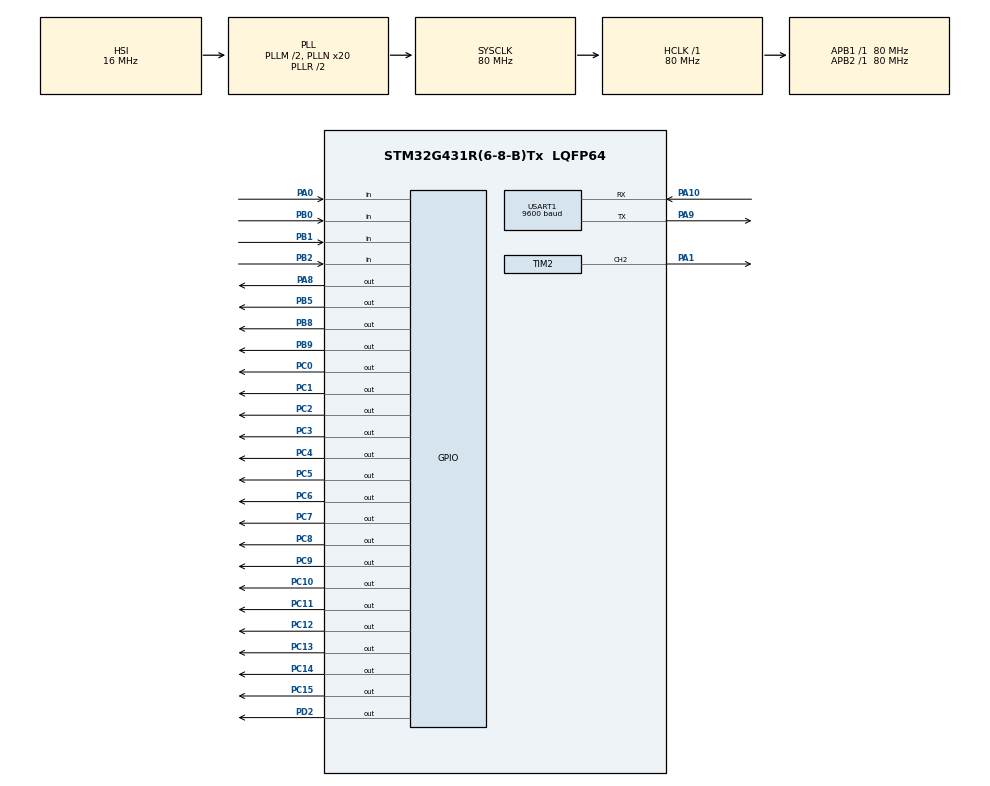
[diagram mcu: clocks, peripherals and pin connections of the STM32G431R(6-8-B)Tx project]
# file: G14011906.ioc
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Mcu.Family=STM32G4
Mcu.Name=STM32G431R(6-8-B)Tx
Mcu.Package=LQFP64
NVIC.PriorityGroup=NVIC_PRIORITYGROUP_4
NVIC.TIM4_IRQn=true\:0\:0\:false\:false\:true\:true\:true
NVIC.USART1_IRQn=true\:0\:0\:false\:false\:true\:true\:true
PA0.Signal=GPIO_Input
PA1.Signal=S_TIM2_CH2
PA10.Mode=Asynchronous
PA10.Signal=USART1_RX
PA8.Signal=GPIO_Output
PA9.Mode=Asynchronous
PA9.Signal=USART1_TX
PB0.Signal=GPIO_Input
PB1.Signal=GPIO_Input
PB2.Signal=GPIO_Input
PB5.Signal=GPIO_Output
PB8-BOOT0.Signal=GPIO_Output
PB9.Signal=GPIO_Output
PC0.Signal=GPIO_Output
PC1.Signal=GPIO_Output
PC10.Signal=GPIO_Output
PC11.Signal=GPIO_Output
PC12.Signal=GPIO_Output
PC13.Signal=GPIO_Output
PC14-OSC32_IN.Signal=GPIO_Output
PC15-OSC32_OUT.Signal=GPIO_Output
PC2.Signal=GPIO_Output
PC3.Signal=GPIO_Output
PC4.Signal=GPIO_Output
PC5.Signal=GPIO_Output
PC6.Signal=GPIO_Output
PC7.Signal=GPIO_Output
PC8.Signal=GPIO_Output
PC9.Signal=GPIO_Output
PD2.Signal=GPIO_Output
PF0-OSC_IN.Mode=HSE-External-Oscillator
PF0-OSC_IN.Signal=RCC_OSC_IN
PF1-OSC_OUT.Mode=HSE-External-Oscillator
PF1-OSC_OUT.Signal=RCC_OSC_OUT
ProjectManager.HeapSize=0x200
ProjectManager.StackSize=0x400
ProjectManager.TargetToolchain=MDK-ARM V5
RCC.ADC12Freq_Value=80000000
RCC.AHBFreq_Value=80000000
RCC.APB1Freq_Value=80000000
RCC.APB1TimFreq_Value=80000000
RCC.APB2Freq_Value=80000000
RCC.APB2TimFreq_Value=80000000
RCC.CortexFreq_Value=80000000
RCC.EXTERNAL_CLOCK_VALUE=12288000
RCC.HCLKFreq_Value=80000000
RCC.HSE_VALUE=24000000
RCC.HSI48_VALUE=48000000
RCC.HSI_VALUE=16000000
RCC.LSE_VALUE=32768
RCC.PLLM=RCC_PLLM_DIV2
RCC.PLLN=20
RCC.SYSCLKFreq_VALUE=80000000
RCC.SYSCLKSource=RCC_SYSCLKSOURCE_PLLCLK
RCC.USBFreq_Value=80000000
RCC.VCOOutputFreq_Value=160000000
SH.S_TIM2_CH2.0=TIM2_CH2,PWM Generation2 CH2
TIM2.Channel-PWM\ Generation2\ CH2=TIM_CHANNEL_2
TIM2.PeriodNoDither=1000-1
TIM2.Prescaler=79
TIM4.PeriodNoDither=9999
TIM4.Prescaler=79
USART1.BaudRate=9600
USART1.VirtualMode-Asynchronous=VM_ASYNC
VP_SYS_VS_DBSignals.Mode=DisableDeadBatterySignals
VP_TIM4_VS_ClockSourceINT.Mode=Internal
board=custom

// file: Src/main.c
/* USER CODE BEGIN Header */
/**
  ******************************************************************************
  * @file           : main.c
  * @brief          : Main program body
  ******************************************************************************
  * @attention
  *
  * <h2><center>&copy; Copyright (c) 2021 STMicroelectronics.
  * All rights reserved.</center></h2>
  *
  * This software component is licensed by ST under BSD 3-Clause license,
  * the "License"; You may not use this file except in compliance with the
  * License. You may obtain a copy of the License at:
  *                        opensource.org/licenses/BSD-3-Clause
  *
  ******************************************************************************
  */
/* USER CODE END Header */

#include "main.h"
#include "tim.h"
#include "usart.h"
#include "gpio.h"

/* USER CODE BEGIN Includes */
#include "led.h"
#include "key.h"
#include "lcd.h"
#include "stdio.h"
#include "string.h"
/* USER CODE END Includes */

void SystemClock_Config(void);

/* USER CODE BEGIN 0 */
extern struct keys key[4];
#define DISPLAY_PSD         0
#define DISPLAY_STA         1
_Bool   display_mode  =  DISPLAY_PSD;
u8      b1_code = '@',b2_code = '@',b3_code = '@';
u16     freq = 2000 ;
u8      duty = 10 ;
u8      init_code1 = 1,init_code2 = 2,init_code3 = 3;
void LCD_Process(void)
{
    char display_buf[20];
    if(display_mode == DISPLAY_PSD)
    {
        LCD_DisplayStringLine(Line1,(unsigned char *)"        PSD        ");
        if(b1_code == '@')
            sprintf(display_buf,"    B1:%c     ",b1_code);
        else
            sprintf(display_buf,"    B1:%d     ",b1_code);
        LCD_DisplayStringLine(Line3,(unsigned char *)display_buf);
        if(b2_code == '@')
            sprintf(display_buf,"    B2:%c     ",b2_code);
        else
            sprintf(display_buf,"    B2:%d     ",b2_code);
        LCD_DisplayStringLine(Line4,(unsigned char *)display_buf);
        if(b3_code == '@')
            sprintf(display_buf,"    B3:%c     ",b3_code);
        else
            sprintf(display_buf,"    B3:%d     ",b3_code);
        LCD_DisplayStringLine(Line5,(unsigned char *)display_buf);
    }
    else
    {
         LCD_DisplayStringLine(Line1,(unsigned char *)"        STA        ");
         sprintf(display_buf,"    F:%dHz   ",freq);
         LCD_DisplayStringLine(Line3,(unsigned char *)display_buf);
         sprintf(display_buf,"    D:%d%%   ",duty);
         LCD_DisplayStringLine(Line4,(unsigned char *)display_buf);
    }
}
u32 ledTick = 0;
u8 key_num = 0;
_Bool led_flag = 0;
void KEY_Process(void)
{
    if( key[0].key_ok == 1 )
    {
       if(display_mode == DISPLAY_PSD)
       {
           if( b1_code == '@' )
               b1_code = 0;
           else
               b1_code = (b1_code + 1) % 10;
       }
        key[0].key_ok = 0;
    }
    if( key[1].key_ok == 1 )
    {
       if(display_mode == DISPLAY_PSD)
       {
           if( b2_code == '@' )
               b2_code = 0;
           else
               b2_code = (b2_code + 1) % 10;
       }
        key[1].key_ok = 0;
    }
    if( key[2].key_ok == 1 )
    {
       if(display_mode == DISPLAY_PSD)
       {
           if( b3_code == '@' )
               b3_code = 0;
           else
               b3_code = (b3_code + 1) % 10;
       }
        key[2].key_ok = 0;
    }
     if( key[3].key_ok == 1 )
     {
          if(display_mode == DISPLAY_PSD)
          {
             LCD_Clear(Black);
             if( b1_code == init_code1 && b2_code == init_code2 && b3_code == init_code3)
             {

                  display_mode = DISPLAY_STA;
             }
             else
             {
                 b1_code = '@';
                 b2_code = '@';
                 b3_code = '@';
                 key_num++;
                 if(key_num == 3)
                 {
                     led_flag = 1;
                     ledTick = uwTick;
                     key_num = 0;
                 }
             }
         }
         key[3].key_ok = 0;
     }
}
u8 rx_buf[8];
u8 rx_dat;
u8 rx_pointer = 0;
u32 uartTick = 0;
void HAL_UART_RxCpltCallback(UART_HandleTypeDef *huart)
{
    uartTick = uwTick;
    rx_buf[rx_pointer++] = rx_dat;
    HAL_UART_Receive_IT(&huart1,&rx_dat,1);
}

int Is_RealCode(char *rx_buf)
{
    if(((rx_buf[0] - '0')== init_code1 )&& ((rx_buf[1] - '0') == init_code2 )&& ((rx_buf[2] - '0') == init_code3))
        return 1;
    return 0;
}

int String_Check(char *str)
{
    if((str[0] >= '0' && str[0] <= '9' ) && (str[1] >= '0' && str[1] <= '9' ) && (str[2] >= '0' && str[2] <= '9' )
                            && (str[3] == '-')&& (str[4] >= '0' && str[4] <= '9' ) && (str[5] >= '0' && str[5] <= '9' ) && (str[6] >= '0' && str[6] <= '9' ))
        return 1;
    return 0;
}

void RxIdle_Process(void)
{
    if(uwTick - uartTick < 50) return;
    uartTick = uwTick;
    if(rx_pointer == 7)
    {
        char uart_buf[20];
        if(String_Check((char *)rx_buf) == 1)
        {
                if(Is_RealCode((char *)rx_buf) == 1)
                {
                    sprintf(uart_buf,"succesful!!code is change\r\n");
                    HAL_UART_Transmit(&huart1, (u8*)uart_buf, strlen(uart_buf),  50);
                    init_code1 = rx_buf[4] - '0';
                    init_code2 = rx_buf[5] - '0';
                    init_code3 = rx_buf[6] - '0';

                }
                else
                {
                     sprintf(uart_buf,"error3\r\n");
                     HAL_UART_Transmit(&huart1, (u8*)uart_buf, strlen(uart_buf),  50);
                }
        }
        else
        {
            sprintf(uart_buf,"error1\r\n");
            HAL_UART_Transmit(&huart1, (u8*)uart_buf, strlen(uart_buf),  50);
        }
    }
    rx_pointer = 0;
    memset(rx_buf,'\0',sizeof(rx_buf));
}

void PWM_Process(void)
{
    if(display_mode == DISPLAY_PSD)
    {
        TIM2->ARR  = 1000 - 1;
        TIM2->CCR1 = 500;
        freq =       1000;
        duty =       50;
    }
    else if(display_mode == DISPLAY_STA)
    {
        TIM2->ARR  = 500 - 1;
        TIM2->CCR1 = 50;
        freq =       2000;
        duty =       100;
    }
}

u8 led_contrl = 0;

void LED_Process(void)
{
    if(uwTick - ledTick < 100) return;
    ledTick = uwTick;
    if(led_flag == 1)
        led_contrl ^= 0x02;
    else
        led_contrl &= ~0x02;
    LED_Contrl(led_contrl);
}

u16 display_time = 0;
u16 led_time = 0;
void SysTick_Handler(void)
{
  HAL_IncTick();
  if(display_mode == DISPLAY_STA)
  {
      led_contrl |= 0x01;
      if( ++display_time >= 5000)
      {
           led_contrl &= ~0x01;
           LCD_Clear(Black);
           display_mode = DISPLAY_PSD;
           b1_code = '@';
           b2_code = '@';
           b3_code = '@';
           display_time = 0;
      }
  }
  if(led_flag == 1)
  {
      if(++led_time >= 5000)
      {
        led_flag = 0;
        led_time = 0;
      }
  }
}

/* USER CODE END 0 */

int main(void)
{

  /* MCU Configuration--------------------------------------------------------*/

  /* Reset of all peripherals, Initializes the Flash interface and the Systick. */
  HAL_Init();

  /* Configure the system clock */
  SystemClock_Config();

  /* Initialize all configured peripherals */
  MX_GPIO_Init();
  MX_TIM2_Init();
  MX_TIM4_Init();
  MX_USART1_UART_Init();
  /* USER CODE BEGIN 2 */

	LCD_Init();
  /* USER CODE END 2 */

  /* Infinite loop */
  /* USER CODE BEGIN WHILE */

    HAL_TIM_Base_Start_IT(&htim4);
    HAL_TIM_PWM_Start(&htim2,TIM_CHANNEL_2);
    HAL_UART_Receive_IT(&huart1,&rx_dat,1);
    TIM2->CCR1 = 500;
	LCD_Clear(Black);
	LCD_SetBackColor(Black);
	LCD_SetTextColor(White);

  while (1)
  {
    /* USER CODE END WHILE */

    /* USER CODE BEGIN 3 */
      LCD_Process();
      KEY_Process();
      PWM_Process();
      LED_Process();
      RxIdle_Process();
  }
  /* USER CODE END 3 */
}

void SystemClock_Config(void)
{
  RCC_OscInitTypeDef RCC_OscInitStruct = {0};
  RCC_ClkInitTypeDef RCC_ClkInitStruct = {0};
  RCC_PeriphCLKInitTypeDef PeriphClkInit = {0};

  /** Configure the main internal regulator output voltage
  */
  HAL_PWREx_ControlVoltageScaling(PWR_REGULATOR_VOLTAGE_SCALE1);
  /** Initializes the CPU, AHB and APB busses clocks
  */
  RCC_OscInitStruct.OscillatorType = RCC_OSCILLATORTYPE_HSI;
  RCC_OscInitStruct.HSIState = RCC_HSI_ON;
  RCC_OscInitStruct.HSICalibrationValue = RCC_HSICALIBRATION_DEFAULT;
  RCC_OscInitStruct.PLL.PLLState = RCC_PLL_ON;
  RCC_OscInitStruct.PLL.PLLSource = RCC_PLLSOURCE_HSI;
  RCC_OscInitStruct.PLL.PLLM = RCC_PLLM_DIV2;
  RCC_OscInitStruct.PLL.PLLN = 20;
  RCC_OscInitStruct.PLL.PLLP = RCC_PLLP_DIV2;
  RCC_OscInitStruct.PLL.PLLQ = RCC_PLLQ_DIV2;
  RCC_OscInitStruct.PLL.PLLR = RCC_PLLR_DIV2;
  if (HAL_RCC_OscConfig(&RCC_OscInitStruct) != HAL_OK)
  {
    Error_Handler();
  }
  /** Initializes the CPU, AHB and APB busses clocks
  */
  RCC_ClkInitStruct.ClockType = RCC_CLOCKTYPE_HCLK|RCC_CLOCKTYPE_SYSCLK
                              |RCC_CLOCKTYPE_PCLK1|RCC_CLOCKTYPE_PCLK2;
  RCC_ClkInitStruct.SYSCLKSource = RCC_SYSCLKSOURCE_PLLCLK;
  RCC_ClkInitStruct.AHBCLKDivider = RCC_SYSCLK_DIV1;
  RCC_ClkInitStruct.APB1CLKDivider = RCC_HCLK_DIV1;
  RCC_ClkInitStruct.APB2CLKDivider = RCC_HCLK_DIV1;

  if (HAL_RCC_ClockConfig(&RCC_ClkInitStruct, FLASH_LATENCY_3) != HAL_OK)
  {
    Error_Handler();
  }
  /** Initializes the peripherals clocks
  */
  PeriphClkInit.PeriphClockSelection = RCC_PERIPHCLK_USART1;
  PeriphClkInit.Usart1ClockSelection = RCC_USART1CLKSOURCE_PCLK2;
  if (HAL_RCCEx_PeriphCLKConfig(&PeriphClkInit) != HAL_OK)
  {
    Error_Handler();
  }
}

void Error_Handler(void)
{
}

/************************ (C) COPYRIGHT STMicroelectronics *****END OF FILE****/
